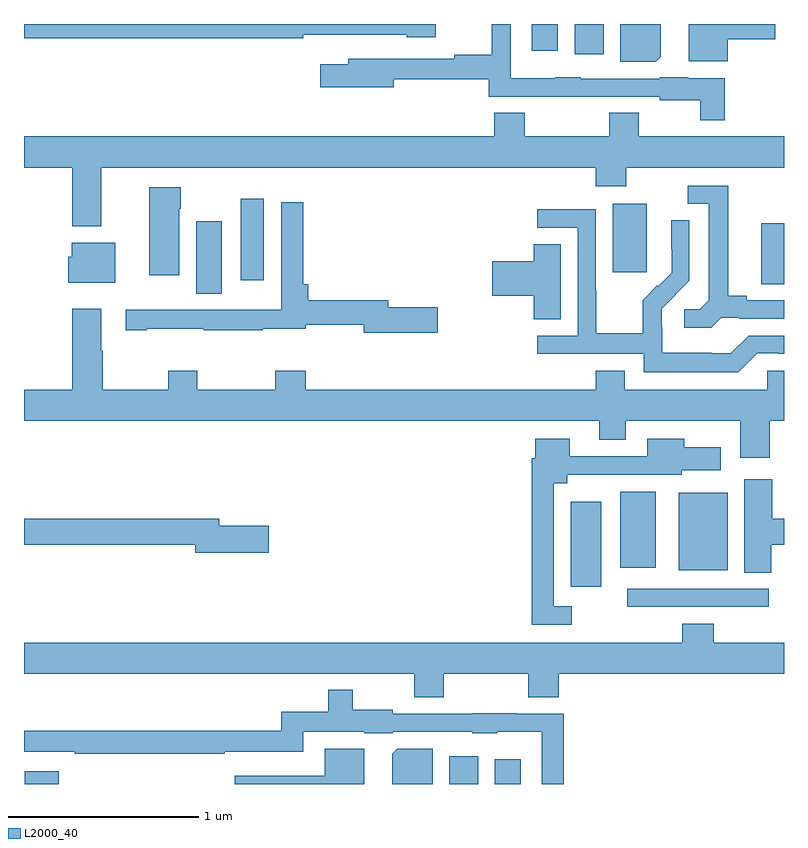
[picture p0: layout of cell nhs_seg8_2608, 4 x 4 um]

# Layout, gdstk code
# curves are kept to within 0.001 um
import gdstk
lib = gdstk.Library(unit=1e-6, precision=1e-09)
def R(c, l, rs):  # rectangles x0, y0, x1, y1
    for r in rs: c.add(gdstk.rectangle(r[:2], r[2:], *l))
def P(c, l, *ps):  # polygons
    for p in ps: c.add(gdstk.Polygon(p, *l))
L2000_40 = (2000, 40)

nhs_seg8_2608 = lib.new_cell('nhs_seg8_2608')
R(nhs_seg8_2608, L2000_40, [(275.005,1135.9,275.183,1135.966), (277.238,1135.9,277.39,1136.047), (277.478,1135.9,277.615,1136.029), (278.175,1136.832,278.92,1136.928), (277.877,1136.937,278.038,1137.385), (278.447,1137.026,278.704,1137.433), (278.138,1137.038,278.326,1137.439), (275.906,1138.48,276.04,1138.861), (278.879,1138.531,279,1138.851), (276.14,1138.551,276.262,1138.981), (278.099,1138.593,278.278,1138.954), (277.898,1139.742,278.05,1139.9), (277.673,1139.76,277.81,1139.9)])
P(nhs_seg8_2608, L2000_40, [(276.47,1139.844),(277.014,1139.844),(277.014,1139.831),(277.168,1139.831),(277.168,1139.9),(275,1139.9),(275,1139.824),(276.47,1139.824)],
  [(278.687,1139.614),(278.496,1139.614),(278.496,1139.62),(278.346,1139.62),(278.346,1139.613),(277.929,1139.613),(277.929,1139.62),(277.797,1139.62),(277.797,1139.614),(277.563,1139.614),(277.563,1139.9),(277.462,1139.9),(277.462,1139.738),(277.264,1139.738),(277.264,1139.718),(276.707,1139.718),(276.707,1139.689),(276.558,1139.689),(276.558,1139.567),(276.946,1139.567),(276.946,1139.61),(277.447,1139.61),(277.447,1139.517),(277.697,1139.517),(277.697,1139.516),(277.929,1139.516),(277.929,1139.517),(278.346,1139.517),(278.346,1139.498),(278.559,1139.498),(278.559,1139.393),(278.687,1139.393)],
  [(278.704,1139.819),(278.953,1139.819),(278.953,1139.9),(278.498,1139.9),(278.498,1139.705),(278.704,1139.705)],
  [(278.35,1139.728),(278.35,1139.9),(278.138,1139.9),(278.138,1139.702),(278.324,1139.702)],
  [(275.407,1139.144),(278.009,1139.144),(278.009,1139.045),(278.169,1139.045),(278.169,1139.144),(279,1139.144),(279,1139.308),(278.235,1139.308),(278.235,1139.432),(278.08,1139.432),(278.08,1139.308),(277.635,1139.308),(277.635,1139.432),(277.475,1139.432),(277.475,1139.308),(275,1139.308),(275,1139.144),(275.255,1139.144),(275.255,1138.835),(275.407,1138.835)],
  [(278.67,1138.353),(278.764,1138.353),(278.764,1138.35),(279,1138.35),(279,1138.446),(278.803,1138.446),(278.803,1138.469),(278.707,1138.469),(278.707,1139.049),(278.493,1139.049),(278.493,1138.953),(278.603,1138.953),(278.603,1138.445),(278.556,1138.398),(278.475,1138.398),(278.475,1138.301),(278.618,1138.301)],
  [(275.818,1138.928),(275.826,1138.928),(275.826,1139.041),(275.66,1139.041),(275.66,1138.578),(275.818,1138.578)],
  [(277.177,1138.409),(276.916,1138.409),(276.916,1138.445),(276.497,1138.445),(276.497,1138.531),(276.47,1138.531),(276.47,1138.963),(276.354,1138.963),(276.354,1138.396),(276.144,1138.396),(276.144,1138.395),(275.81,1138.395),(275.81,1138.397),(275.535,1138.397),(275.535,1138.287),(275.647,1138.287),(275.647,1138.297),(275.947,1138.297),(275.947,1138.287),(276.257,1138.287),(276.257,1138.297),(276.484,1138.297),(276.484,1138.317),(276.788,1138.317),(276.788,1138.274),(277.177,1138.274)],
  [(278.859,1138.167),(278.975,1138.167),(278.975,1138.164),(279,1138.164),(279,1138.26),(278.814,1138.26),(278.721,1138.167),(278.621,1138.167),(278.621,1138.171),(278.358,1138.171),(278.358,1138.305),(278.356,1138.305),(278.356,1138.402),(278.502,1138.55),(278.502,1138.868),(278.406,1138.868),(278.406,1138.714),(278.408,1138.714),(278.408,1138.592),(278.337,1138.521),(278.334,1138.524),(278.257,1138.447),(278.257,1138.273),(278.013,1138.273),(278.013,1138.496),(278.01,1138.496),(278.01,1138.926),(277.701,1138.926),(277.701,1138.827),(277.914,1138.827),(277.914,1138.26),(277.701,1138.26),(277.701,1138.164),(278.262,1138.164),(278.262,1138.067),(278.759,1138.067)],
  [(275.479,1138.75),(275.252,1138.75),(275.252,1138.674),(275.234,1138.674),(275.234,1138.538),(275.479,1138.538)],
  [(277.825,1138.742),(277.682,1138.742),(277.682,1138.652),(277.464,1138.652),(277.464,1138.469),(277.682,1138.469),(277.682,1138.345),(277.825,1138.345)],
  [(278.161,1138.075),(278.009,1138.075),(278.009,1137.976),(276.482,1137.976),(276.482,1138.075),(276.322,1138.075),(276.322,1137.976),(275.913,1137.976),(275.913,1138.075),(275.758,1138.075),(275.758,1137.976),(275.415,1137.976),(275.415,1138.181),(275.407,1138.181),(275.407,1138.402),(275.255,1138.402),(275.255,1137.976),(275,1137.976),(275,1137.812),(278.027,1137.812),(278.027,1137.713),(278.167,1137.713),(278.167,1137.812),(278.771,1137.812),(278.771,1137.618),(278.924,1137.618),(278.924,1137.812),(279,1137.812),(279,1138.074),(278.913,1138.074),(278.913,1137.976),(278.161,1137.976)],
  [(277.882,1136.835),(277.788,1136.835),(277.788,1137.482),(277.858,1137.482),(277.858,1137.528),(278.463,1137.528),(278.463,1137.551),(278.668,1137.551),(278.668,1137.673),(278.475,1137.673),(278.475,1137.718),(278.279,1137.718),(278.279,1137.624),(277.873,1137.624),(277.873,1137.718),(277.691,1137.718),(277.691,1137.614),(277.672,1137.614),(277.672,1136.739),(277.882,1136.739)],
  [(278.934,1137.16),(279,1137.16),(279,1137.296),(278.939,1137.296),(278.939,1137.505),(278.792,1137.505),(278.792,1137.013),(278.934,1137.013)],
  [(276.289,1137.26),(276.028,1137.26),(276.028,1137.296),(275,1137.296),(275,1137.16),(275.9,1137.16),(275.9,1137.118),(276.289,1137.118)],
  [(277.209,1136.48),(277.654,1136.48),(277.654,1136.356),(277.814,1136.356),(277.814,1136.48),(279,1136.48),(279,1136.644),(278.63,1136.644),(278.63,1136.743),(278.465,1136.743),(278.465,1136.644),(275,1136.644),(275,1136.48),(277.054,1136.48),(277.054,1136.356),(277.209,1136.356)],
  [(277.841,1136.271),(277.591,1136.271),(277.591,1136.273),(277.359,1136.273),(277.359,1136.271),(276.942,1136.271),(276.942,1136.29),(276.73,1136.29),(276.73,1136.395),(276.601,1136.395),(276.601,1136.279),(276.355,1136.279),(276.355,1136.179),(275,1136.179),(275,1136.07),(275.266,1136.07),(275.266,1136.058),(276.056,1136.058),(276.056,1136.07),(276.471,1136.07),(276.471,1136.174),(276.792,1136.174),(276.792,1136.168),(276.942,1136.168),(276.942,1136.175),(277.359,1136.175),(277.359,1136.168),(277.491,1136.168),(277.491,1136.174),(277.725,1136.174),(277.725,1135.9),(277.841,1135.9)],
  [(277.15,1136.086),(276.964,1136.086),(276.938,1136.06),(276.938,1135.9),(277.15,1135.9)],
  [(276.79,1136.086),(276.584,1136.086),(276.584,1135.944),(276.11,1135.944),(276.11,1135.9),(276.79,1135.9)])

lib.write_gds('nhs_seg8_2608.gds')
